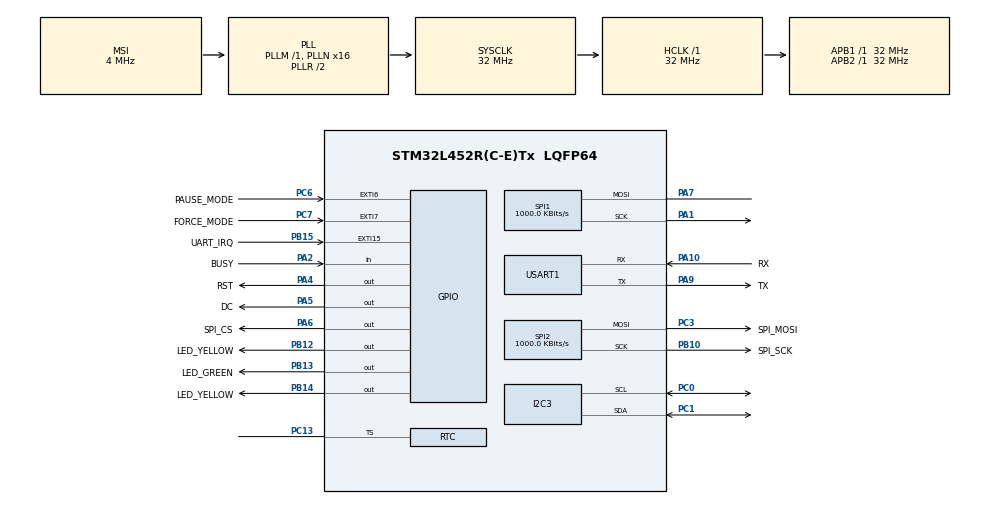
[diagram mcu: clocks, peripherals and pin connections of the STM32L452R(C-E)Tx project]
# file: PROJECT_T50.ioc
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I2C3.Timing=0x00707CBB
Mcu.Family=STM32L4
Mcu.Name=STM32L452R(C-E)Tx
Mcu.Package=LQFP64
NVIC.PriorityGroup=NVIC_PRIORITYGROUP_4
NVIC.RTC_WKUP_IRQn=true\:0\:0\:false\:false\:true\:true\:true
PA1.GPIO_PuPd=GPIO_PULLDOWN
PA1.Mode=Simplex_Bidirectional_Master
PA1.Signal=SPI1_SCK
PA10.GPIO_Label=RX
PA10.Mode=Asynchronous
PA10.Signal=USART1_RX
PA13\ (JTMS/SWDIO).Mode=JTAG_5_pins
PA13\ (JTMS/SWDIO).Signal=SYS_JTMS-SWDIO
PA14\ (JTCK/SWCLK).Mode=JTAG_5_pins
PA14\ (JTCK/SWCLK).Signal=SYS_JTCK-SWCLK
PA15\ (JTDI).Mode=JTAG_5_pins
PA15\ (JTDI).Signal=SYS_JTDI
PA2.GPIO_Label=BUSY
PA2.Signal=GPIO_Input
PA4.GPIO_Label=RST
PA4.Signal=GPIO_Output
PA5.GPIO_Label=DC
PA5.Signal=GPIO_Output
PA6.GPIO_Label=SPI_CS
PA6.Signal=GPIO_Output
PA7.Mode=Simplex_Bidirectional_Master
PA7.Signal=SPI1_MOSI
PA9.GPIO_Label=TX
PA9.GPIO_PuPd=GPIO_PULLDOWN
PA9.Mode=Asynchronous
PA9.Signal=USART1_TX
PB10.GPIO_Label=SPI_SCK
PB10.Mode=TX_Only_Simplex_Unidirect_Master
PB10.Signal=SPI2_SCK
PB12.GPIO_Label=LED_YELLOW
PB12.Signal=GPIO_Output
PB13.GPIO_Label=LED_GREEN
PB13.Signal=GPIO_Output
PB14.GPIO_Label=LED_YELLOW
PB14.Signal=GPIO_Output
PB15.GPIO_Label=UART_IRQ
PB15.GPIO_PuPd=GPIO_PULLDOWN
PB15.Signal=GPXTI15
PB3\ (JTDO/TRACESWO).Mode=JTAG_5_pins
PB3\ (JTDO/TRACESWO).Signal=SYS_JTDO-SWO
PB4\ (NJTRST).Mode=JTAG_5_pins
PB4\ (NJTRST).Signal=SYS_JTRST
PC0.Mode=I2C
PC0.Signal=I2C3_SCL
PC1.Mode=I2C
PC1.Signal=I2C3_SDA
PC13.Mode=Timestamp enabled
PC13.Signal=RTC_TS
PC14-OSC32_IN\ (PC14).Mode=LSE-External-Oscillator
PC14-OSC32_IN\ (PC14).Signal=RCC_OSC32_IN
PC15-OSC32_OUT\ (PC15).Mode=LSE-External-Oscillator
PC15-OSC32_OUT\ (PC15).Signal=RCC_OSC32_OUT
PC3.GPIO_Label=SPI_MOSI
PC3.Mode=TX_Only_Simplex_Unidirect_Master
PC3.Signal=SPI2_MOSI
PC6.GPIO_Label=PAUSE_MODE
PC6.GPIO_ModeDefaultEXTI=GPIO_MODE_IT_RISING_FALLING
PC6.GPIO_PuPd=GPIO_PULLDOWN
PC6.Signal=GPXTI6
PC7.GPIO_Label=FORCE_MODE
PC7.GPIO_PuPd=GPIO_PULLDOWN
PC7.Signal=GPXTI7
ProjectManager.HeapSize=0x200
ProjectManager.StackSize=0x400
ProjectManager.TargetToolchain=STM32CubeIDE
RCC.AHBFreq_Value=32000000
RCC.APB1Freq_Value=32000000
RCC.APB1TimFreq_Value=32000000
RCC.APB2Freq_Value=32000000
RCC.APB2TimFreq_Value=32000000
RCC.CortexFreq_Value=32000000
RCC.HCLKFreq_Value=32000000
RCC.HSE_VALUE=8000000
RCC.HSI48_VALUE=48000000
RCC.HSI_VALUE=16000000
RCC.MSI_VALUE=4000000
RCC.PLLN=16
RCC.SYSCLKFreq_VALUE=32000000
RCC.SYSCLKSource=RCC_SYSCLKSOURCE_PLLCLK
RCC.VCOOutputFreq_Value=64000000
RTC.WakeUpClock-WakeUp=RTC_WAKEUPCLOCK_CK_SPRE_16BITS
RTC.WakeUpCounter-WakeUp=19
SPI1.BaudRatePrescaler=SPI_BAUDRATEPRESCALER_32
SPI1.CalculateBaudRate=1000.0 KBits/s
SPI1.DataSize=SPI_DATASIZE_8BIT
SPI1.Direction=SPI_DIRECTION_1LINE
SPI1.Mode=SPI_MODE_MASTER
SPI1.VirtualType=VM_MASTER
SPI2.BaudRatePrescaler=SPI_BAUDRATEPRESCALER_32
SPI2.CalculateBaudRate=1000.0 KBits/s
SPI2.DataSize=SPI_DATASIZE_8BIT
SPI2.Direction=SPI_DIRECTION_2LINES
SPI2.Mode=SPI_MODE_MASTER
SPI2.VirtualType=VM_MASTER
USART1.VirtualMode-Asynchronous=VM_ASYNC
VP_RTC_VS_RTC_Activate.Mode=RTC_Enabled
VP_RTC_VS_RTC_Calendar.Mode=RTC_Calendar
VP_RTC_VS_RTC_WakeUp_intern.Mode=WakeUp
board=custom

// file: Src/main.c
/* USER CODE BEGIN Header */
/**
  ******************************************************************************
  * @file           : main.c
  * @brief          : Main program body
  ******************************************************************************
  * @attention
  *
  * <h2><center>&copy; Copyright (c) 2019 STMicroelectronics.
  * All rights reserved.</center></h2>
  *
  * This software component is licensed by ST under BSD 3-Clause license,
  * the "License"; You may not use this file except in compliance with the
  * License. You may obtain a copy of the License at:
  *                        opensource.org/licenses/BSD-3-Clause
  *
  ******************************************************************************
  */
/* USER CODE END Header */

#include "main.h"

/* USER CODE BEGIN Includes */
void ink_clear(void);						//clear entire display
void ink_update(void);						//clear reading every update
int ink_init(void);							//initialise display
void ink_display(void);						//display all reading
void ink_datetime(void);					//display date and time
void ink_skintype(void);					//display skintype
void ink_med(void);							//display user med
void ink_sed(void);							//display cumulative sed
void ink_uvindex(void);						//display uv index
void ink_bargraph(void);					//display bar graph
void ink_datapoint(void);					//display data point
/* USER CODE END Includes */

I2C_HandleTypeDef hi2c3;
RTC_HandleTypeDef hrtc;
SPI_HandleTypeDef hspi1;
SPI_HandleTypeDef hspi2;
UART_HandleTypeDef huart1;

/* USER CODE BEGIN PV */

uint8_t RXBuffer[18];
uint8_t DisconnectBuffer[2];
uint8_t uartReady = 0;
uint8_t TXFLAG = 0;
uint8_t GUI_skinType[1];
uint8_t GUI_MED[3];
uint8_t GUI_DDMMYYYY[8];
uint8_t GUI_HHMMSS[6];
uint8_t wake_up_led_flash = 1;

uint8_t MED_VALUE[1];
uint8_t SKINTYPE[1];
uint8_t HOUR[1];
uint8_t MIN[1];
uint8_t SEC[1];
uint8_t DAY[1];
uint8_t MONTH[1];
uint8_t YEAR[1];

// 0 = normal
// 1 = force
// 2 = pause
int MODE = 0;

/* USER CODE END PV */

void SystemClock_Config(void);
static void MX_GPIO_Init(void);
static void MX_SPI1_Init(void);
static void MX_I2C3_Init(void);
static void MX_SPI2_Init(void);
static void MX_USART1_UART_Init(void);
static void MX_RTC_Init(void);
/* USER CODE BEGIN PFP */
void ink_clear(void);						//clear entire display
void ink_update(void);						//clear reading every update
int ink_init(void);							//initialise display
void ink_display(void);						//display all reading
void ink_datetime(void);					//display date and time
void ink_skintype(void);					//display skintype
void ink_med(void);							//display user med
void ink_sed(void);							//display cumulative sed
void ink_uvindex(void);						//display uv index
void ink_bargraph(void);					//display bar graph
void ink_datapoint(void);					//display data point
int test(void);
void Uart_Subroutine(void) ;
void transmit_uv(void);
void handle_RX_values(void);
void sleep_mode(void);
void wake_up_mode(void);
void presleepRoutine(void);
void force_mode_subroutine(void);
void pause_mode_subroutine(void);

/* USER CODE END PFP */

/* USER CODE BEGIN 0 */
#ifdef __GNUC__
/* With GCC/RAISONANCE, small printf (option LD Linker->Libraries->Small printf
   set to 'Yes') calls __io_putchar() */
#define PUTCHAR_PROTOTYPE int __io_putchar(int ch)
#else
#define PUTCHAR_PROTOTYPE int fputc(int ch, FILE *f)
#endif /* __GNUC__ */

/* USER CODE END 0 */

int main(void)
{

  /* MCU Configuration--------------------------------------------------------*/

  /* Reset of all peripherals, Initializes the Flash interface and the Systick. */
  HAL_Init();

  /* Configure the system clock */
  SystemClock_Config();

  /* Initialize all configured peripherals */
  MX_GPIO_Init();
  MX_SPI1_Init();
  MX_I2C3_Init();
  MX_SPI2_Init();
  MX_USART1_UART_Init();
  MX_RTC_Init();
  /* USER CODE BEGIN 2 */

  ink_init();
  SI1133_init();
  /* USER CODE END 2 */

  /* Infinite loop */
  while (1)
  {

    /* USER CODE BEGIN 3 */

	// only meant to flash when woken up from RTC
	if (wake_up_led_flash == 1) {

		//flash RED LED ||  HAL_GPIO_WritePin(LED_GPIO_Port, RED_LED_Pin, GPIO_PIN_SET);
		//HAL_Delay(500);
	}

	//if uart has been signalled to start working and go into GUI communication
	if (uartReady == 1) {
		//GUI COMMS ROUTINE - WILL EXIT ON DISCONNECT PRESS ON GUI
		Uart_Subroutine();
	}

	//if no switch interupt has occured to change mondes go through normal routine
	if (mode == 0) {
		  getUV();
		  HAL_Delay(10);
		  ink_display();
		  HAL_Delay(10);

	} else if( mode == 1) { //if force mode has been selected

		force_mode_subroutine();
	} else if ( mode == 2) { //if pause mode has been selected

		pause_mode_subroutine();
	}

	//enter Sleep MODE
	//sleep_mode();
  }
  /* USER CODE END 3 */
}

void force_mode_routine(void) {

	//do routine stuff until IRQ is called and takes it back to normal
}

void pause_mode_subroutine(void) {

	//do routine stuff until IRQ is called and takes it back to normal

}

//Stop mode routine
void sleep_mode(void) {

	// || flash LED || HAL_GPIO_WritePin(LED_GPIO_Port, GREEN_LED_Pin, GPIO_PIN_SET);

	wake_up_led_flash = 1;
    HAL_RTCEx_SetWakeUpTimer_IT(&hrtc, 0x0FFFF, RTC_WAKEUPCLOCK_RTCCLK_DIV16);

    /* Enter STOP 1 mode */
    HAL_PWREx_EnterSTOP1Mode(PWR_STOPENTRY_WFI);

    /* ... STOP 1 mode ... */
    wake_up_mode();
}

//Wake up routine
void wake_up_mode(void) {

	  /* Configure the system clock */
	  SystemClock_Config();

	  HAL_UART_Receive_IT(&huart1, RXBuffer, 19);
}

//UART Subroutine, funnels to other functions
void Uart_Subroutine(void) {

	int count = 0;

	while (uartReady == 1) {

		if (TXFLAG == 1) {

			transmit_uv();
		}

		if (count > 5) {

			uartReady = 0;
			connected = 0;
		}
		count++;
	}
}

//Transmits uv update to GUI
// MOCKUPUV should be the UV sample
void transmit_uv(void) {

	uint8_t MOCKUPUV[3];
	MOCKUPUV[0] = '1';
	int count = 0;
	while (TXFLAG == 1) {

		//READ UV HERE AND SEND TO SERIAL VIA THIS FUNCTION

		if (count > 6) {
			MOCKUPUV[0] = '1';
			count = 0;

		}
		MOCKUPUV[0] = MOCKUPUV[0] + 1;
		MOCKUPUV[1] = '\n'; //last character must be a new line
		HAL_UART_Transmit(&huart1, MOCKUPUV, 2, 10);
		count++;
	}
}

// This function seperates for M/D/Y/Time all values to arrays for screen updates
void handle_RX_values(void) {

	int i,j,k;

	GUI_skinType[0] = RXBuffer[1];

	for (i = 0; i < 4; i++) {
		GUI_MED[i] = RXBuffer[i+1+1];
	}
	for (j = 0; j < 9; j++) {
		GUI_DDMMYYYY[j] = RXBuffer[j+i+1];
	}
	for (k = 0; k < 9; k++) {
		GUI_HHMMSS[k] = RXBuffer[j+i+k];
	}
}

void SystemClock_Config(void)
{
  RCC_OscInitTypeDef RCC_OscInitStruct = {0};
  RCC_ClkInitTypeDef RCC_ClkInitStruct = {0};
  RCC_PeriphCLKInitTypeDef PeriphClkInit = {0};

  /** Initializes the CPU, AHB and APB busses clocks
  */
  RCC_OscInitStruct.OscillatorType = RCC_OSCILLATORTYPE_LSI|RCC_OSCILLATORTYPE_MSI;
  RCC_OscInitStruct.LSIState = RCC_LSI_ON;
  RCC_OscInitStruct.MSIState = RCC_MSI_ON;
  RCC_OscInitStruct.MSICalibrationValue = 0;
  RCC_OscInitStruct.MSIClockRange = RCC_MSIRANGE_6;
  RCC_OscInitStruct.PLL.PLLState = RCC_PLL_ON;
  RCC_OscInitStruct.PLL.PLLSource = RCC_PLLSOURCE_MSI;
  RCC_OscInitStruct.PLL.PLLM = 1;
  RCC_OscInitStruct.PLL.PLLN = 16;
  RCC_OscInitStruct.PLL.PLLP = RCC_PLLP_DIV7;
  RCC_OscInitStruct.PLL.PLLQ = RCC_PLLQ_DIV2;
  RCC_OscInitStruct.PLL.PLLR = RCC_PLLR_DIV2;
  if (HAL_RCC_OscConfig(&RCC_OscInitStruct) != HAL_OK)
  {
    Error_Handler();
  }
  /** Initializes the CPU, AHB and APB busses clocks
  */
  RCC_ClkInitStruct.ClockType = RCC_CLOCKTYPE_HCLK|RCC_CLOCKTYPE_SYSCLK
                              |RCC_CLOCKTYPE_PCLK1|RCC_CLOCKTYPE_PCLK2;
  RCC_ClkInitStruct.SYSCLKSource = RCC_SYSCLKSOURCE_PLLCLK;
  RCC_ClkInitStruct.AHBCLKDivider = RCC_SYSCLK_DIV1;
  RCC_ClkInitStruct.APB1CLKDivider = RCC_HCLK_DIV1;
  RCC_ClkInitStruct.APB2CLKDivider = RCC_HCLK_DIV1;

  if (HAL_RCC_ClockConfig(&RCC_ClkInitStruct, FLASH_LATENCY_1) != HAL_OK)
  {
    Error_Handler();
  }
  PeriphClkInit.PeriphClockSelection = RCC_PERIPHCLK_RTC|RCC_PERIPHCLK_USART1
                              |RCC_PERIPHCLK_I2C3;
  PeriphClkInit.Usart1ClockSelection = RCC_USART1CLKSOURCE_PCLK2;
  PeriphClkInit.I2c3ClockSelection = RCC_I2C3CLKSOURCE_PCLK1;
  PeriphClkInit.RTCClockSelection = RCC_RTCCLKSOURCE_LSI;
  if (HAL_RCCEx_PeriphCLKConfig(&PeriphClkInit) != HAL_OK)
  {
    Error_Handler();
  }
  /** Configure the main internal regulator output voltage
  */
  if (HAL_PWREx_ControlVoltageScaling(PWR_REGULATOR_VOLTAGE_SCALE1) != HAL_OK)
  {
    Error_Handler();
  }
}

static void MX_I2C3_Init(void)
{

  hi2c3.Instance = I2C3;
  hi2c3.Init.Timing = 0x00707CBB;
  hi2c3.Init.OwnAddress1 = 0;
  hi2c3.Init.AddressingMode = I2C_ADDRESSINGMODE_7BIT;
  hi2c3.Init.DualAddressMode = I2C_DUALADDRESS_DISABLE;
  hi2c3.Init.OwnAddress2 = 0;
  hi2c3.Init.OwnAddress2Masks = I2C_OA2_NOMASK;
  hi2c3.Init.GeneralCallMode = I2C_GENERALCALL_DISABLE;
  hi2c3.Init.NoStretchMode = I2C_NOSTRETCH_DISABLE;
  if (HAL_I2C_Init(&hi2c3) != HAL_OK)
  {
    Error_Handler();
  }
  /** Configure Analogue filter
  */
  if (HAL_I2CEx_ConfigAnalogFilter(&hi2c3, I2C_ANALOGFILTER_ENABLE) != HAL_OK)
  {
    Error_Handler();
  }
  /** Configure Digital filter
  */
  if (HAL_I2CEx_ConfigDigitalFilter(&hi2c3, 0) != HAL_OK)
  {
    Error_Handler();
  }

}

static void MX_RTC_Init(void)
{

  RTC_TimeTypeDef sTime = {0};
  RTC_DateTypeDef sDate = {0};

  /** Initialize RTC Only
  */
  hrtc.Instance = RTC;
  hrtc.Init.HourFormat = RTC_HOURFORMAT_24;
  hrtc.Init.AsynchPrediv = 127;
  hrtc.Init.SynchPrediv = 255;
  hrtc.Init.OutPut = RTC_OUTPUT_DISABLE;
  hrtc.Init.OutPutRemap = RTC_OUTPUT_REMAP_NONE;
  hrtc.Init.OutPutPolarity = RTC_OUTPUT_POLARITY_HIGH;
  hrtc.Init.OutPutType = RTC_OUTPUT_TYPE_OPENDRAIN;
  if (HAL_RTC_Init(&hrtc) != HAL_OK)
  {
    Error_Handler();
  }

  /** Initialize RTC and set the Time and Date - USE THESE TO UPDATE VALUES - VERIFY PRINT TO SCREEN THEN WE CAN UPDATE THEM PLEASE
  */
  sTime.Hours = 0x0;
  sTime.Minutes = 0x0;
  sTime.Seconds = 0x0;
  sTime.DayLightSaving = RTC_DAYLIGHTSAVING_NONE;
  sTime.StoreOperation = RTC_STOREOPERATION_RESET;
  if (HAL_RTC_SetTime(&hrtc, &sTime, RTC_FORMAT_BCD) != HAL_OK)
  {
    Error_Handler();
  }
  sDate.WeekDay = RTC_WEEKDAY_MONDAY;
  sDate.Month = RTC_MONTH_JANUARY;
  sDate.Date = 0x1;
  sDate.Year = 0x0;

  if (HAL_RTC_SetDate(&hrtc, &sDate, RTC_FORMAT_BCD) != HAL_OK)
  {
    Error_Handler();
  }
  /** Enable the TimeStamp
  */
  if (HAL_RTCEx_SetTimeStamp(&hrtc, RTC_TIMESTAMPEDGE_RISING, RTC_TIMESTAMPPIN_DEFAULT) != HAL_OK)
  {
    Error_Handler();
  }
  /** Enable the WakeUp
  */
  if (HAL_RTCEx_SetWakeUpTimer_IT(&hrtc, 30000, RTC_WAKEUPCLOCK_RTCCLK_DIV16) != HAL_OK)
  {
    Error_Handler();
  }

}

static void MX_SPI1_Init(void)
{

  /* SPI1 parameter configuration*/
  hspi1.Instance = SPI1;
  hspi1.Init.Mode = SPI_MODE_MASTER;
  hspi1.Init.Direction = SPI_DIRECTION_1LINE;
  hspi1.Init.DataSize = SPI_DATASIZE_8BIT;
  hspi1.Init.CLKPolarity = SPI_POLARITY_LOW;
  hspi1.Init.CLKPhase = SPI_PHASE_1EDGE;
  hspi1.Init.NSS = SPI_NSS_SOFT;
  hspi1.Init.BaudRatePrescaler = SPI_BAUDRATEPRESCALER_32;
  hspi1.Init.FirstBit = SPI_FIRSTBIT_MSB;
  hspi1.Init.TIMode = SPI_TIMODE_DISABLE;
  hspi1.Init.CRCCalculation = SPI_CRCCALCULATION_DISABLE;
  hspi1.Init.CRCPolynomial = 7;
  hspi1.Init.CRCLength = SPI_CRC_LENGTH_DATASIZE;
  hspi1.Init.NSSPMode = SPI_NSS_PULSE_ENABLE;
  if (HAL_SPI_Init(&hspi1) != HAL_OK)
  {
    Error_Handler();
  }

}

static void MX_SPI2_Init(void)
{

  /* SPI2 parameter configuration*/
  hspi2.Instance = SPI2;
  hspi2.Init.Mode = SPI_MODE_MASTER;
  hspi2.Init.Direction = SPI_DIRECTION_2LINES;
  hspi2.Init.DataSize = SPI_DATASIZE_8BIT;
  hspi2.Init.CLKPolarity = SPI_POLARITY_LOW;
  hspi2.Init.CLKPhase = SPI_PHASE_1EDGE;
  hspi2.Init.NSS = SPI_NSS_SOFT;
  hspi2.Init.BaudRatePrescaler = SPI_BAUDRATEPRESCALER_32;
  hspi2.Init.FirstBit = SPI_FIRSTBIT_MSB;
  hspi2.Init.TIMode = SPI_TIMODE_DISABLE;
  hspi2.Init.CRCCalculation = SPI_CRCCALCULATION_DISABLE;
  hspi2.Init.CRCPolynomial = 7;
  hspi2.Init.CRCLength = SPI_CRC_LENGTH_DATASIZE;
  hspi2.Init.NSSPMode = SPI_NSS_PULSE_ENABLE;
  if (HAL_SPI_Init(&hspi2) != HAL_OK)
  {
    Error_Handler();
  }

}

static void MX_USART1_UART_Init(void)
{

  huart1.Instance = USART1;
  huart1.Init.BaudRate = 115200;
  huart1.Init.WordLength = UART_WORDLENGTH_8B;
  huart1.Init.StopBits = UART_STOPBITS_1;
  huart1.Init.Parity = UART_PARITY_NONE;
  huart1.Init.Mode = UART_MODE_TX_RX;
  huart1.Init.HwFlowCtl = UART_HWCONTROL_NONE;
  huart1.Init.OverSampling = UART_OVERSAMPLING_16;
  huart1.Init.OneBitSampling = UART_ONE_BIT_SAMPLE_DISABLE;
  huart1.AdvancedInit.AdvFeatureInit = UART_ADVFEATURE_NO_INIT;
  if (HAL_UART_Init(&huart1) != HAL_OK)
  {
    Error_Handler();
  }

}

static void MX_GPIO_Init(void)
{
  GPIO_InitTypeDef GPIO_InitStruct = {0};

  /* GPIO Ports Clock Enable */
  __HAL_RCC_GPIOC_CLK_ENABLE();
  __HAL_RCC_GPIOA_CLK_ENABLE();
  __HAL_RCC_GPIOB_CLK_ENABLE();

  /*Configure GPIO pin Output Level */
  HAL_GPIO_WritePin(GPIOA, RST_Pin|DC_Pin|SPI_CS_Pin, GPIO_PIN_RESET);

  /*Configure GPIO pin Output Level */
  HAL_GPIO_WritePin(GPIOB, LED_YELLOW_Pin|LED_GREEN_Pin|LED_YELLOWB14_Pin, GPIO_PIN_RESET);

  /*Configure GPIO pin : BUSY_Pin */
  GPIO_InitStruct.Pin = BUSY_Pin;
  GPIO_InitStruct.Mode = GPIO_MODE_INPUT;
  GPIO_InitStruct.Pull = GPIO_NOPULL;
  HAL_GPIO_Init(BUSY_GPIO_Port, &GPIO_InitStruct);

  /*Configure GPIO pins : RST_Pin DC_Pin SPI_CS_Pin */
  GPIO_InitStruct.Pin = RST_Pin|DC_Pin|SPI_CS_Pin;
  GPIO_InitStruct.Mode = GPIO_MODE_OUTPUT_PP;
  GPIO_InitStruct.Pull = GPIO_NOPULL;
  GPIO_InitStruct.Speed = GPIO_SPEED_FREQ_LOW;
  HAL_GPIO_Init(GPIOA, &GPIO_InitStruct);

  /*Configure GPIO pins : LED_YELLOW_Pin LED_GREEN_Pin LED_YELLOWB14_Pin */
  GPIO_InitStruct.Pin = LED_YELLOW_Pin|LED_GREEN_Pin|LED_YELLOWB14_Pin;
  GPIO_InitStruct.Mode = GPIO_MODE_OUTPUT_PP;
  GPIO_InitStruct.Pull = GPIO_NOPULL;
  GPIO_InitStruct.Speed = GPIO_SPEED_FREQ_LOW;
  HAL_GPIO_Init(GPIOB, &GPIO_InitStruct);

  /*Configure GPIO pin : UART_IRQ_Pin */
  GPIO_InitStruct.Pin = UART_IRQ_Pin;
  GPIO_InitStruct.Mode = GPIO_MODE_IT_RISING;
  GPIO_InitStruct.Pull = GPIO_PULLDOWN;
  HAL_GPIO_Init(UART_IRQ_GPIO_Port, &GPIO_InitStruct);

  /*Configure GPIO pin : PAUSE_MODE_Pin */
  GPIO_InitStruct.Pin = PAUSE_MODE_Pin;
  GPIO_InitStruct.Mode = GPIO_MODE_IT_RISING_FALLING;
  GPIO_InitStruct.Pull = GPIO_PULLDOWN;
  HAL_GPIO_Init(PAUSE_MODE_GPIO_Port, &GPIO_InitStruct);

  /*Configure GPIO pin : FORCE_MODE_Pin */
  GPIO_InitStruct.Pin = FORCE_MODE_Pin;
  GPIO_InitStruct.Mode = GPIO_MODE_IT_RISING;
  GPIO_InitStruct.Pull = GPIO_PULLDOWN;
  HAL_GPIO_Init(FORCE_MODE_GPIO_Port, &GPIO_InitStruct);

}

/* USER CODE BEGIN 4 */
void HAL_GPIO_EXTI_Callback(uint16_t GPIO_Pin) {

	if (GPIO_Pin == UART_IRQ_Pin) {

		if (connected == 0) {
			connected = 1; //connected to GUI
			uartReady = 1; //receiving
			wake_up_led_flash = 0; //stops flash on this wake up, not meant to happen unless done by the RTC
		}

	}

	if (GPIO_Pin == FORCE_MODE_Pin) {

		//if in force mode, go back to normal
		if (MODE == 1) {
			MODE = 0;

		} else if (MODE == 2){

			MODE = 2; //pause mode is still active, you cant override it so keep in pause
		} else {

			MODE = 1;//enter force mode
		}
	}

	if (GPIO_Pin == PAUSE_MODE_Pin) {

		//if in pause mode, go back to normal
		if (MODE == 2) {
			MODE = 0;

		} else { //enter pause mode

			MODE = 2;
		}
	}
}
/**
  * @brief  Retargets the C library printf function to the USART.
  * @param  None
  * @retval None
  */
PUTCHAR_PROTOTYPE
{
  /* Place your implementation of fputc here */
  /* e.g. write a character to the USART1 and Loop until the end of transmission */
  HAL_UART_Transmit(&huart1, (uint8_t *)&ch, 1, 0xFFFF);

  return ch;
}

/* This callback is called by the HAL_UART_IRQHandler when the given number of bytes are received */

void HAL_UART_RxCpltCallback(UART_HandleTypeDef *huart) {

	//DO STUFF HERE AND SAVE VARIABLES

	if (TXFLAG == 0) {

		handle_RX_values();
	}

	TXFLAG = 1;

	  for (int i = 0; i < 19; i++) {

		  RXBuffer[i] = 0;

	  }

	if (TXRXTOGGLE == 0) {

		for (int i = 0; i < 19; i++) {

					  RXBuffer[i] = 0;

		}
		TXRXTOGGLE = 1;
		HAL_UART_Receive_IT(&huart1, DisconnectBuffer, 1);
	}

	if(DisconnectBuffer[0] == '#' || DisconnectBuffer[1] == '#' ) {

		uartReady = 0;
		TXFLAG = 0;
		connected = 0;

		  for (int i = 0; i < 19; i++) {

			  RXBuffer[i] = 0;

		  }
		  DisconnectBuffer[0] = 0;
		  DisconnectBuffer[1] = 0;
		  TXRXTOGGLE = 0;
	}
}

/* USER CODE END 4 */

void Error_Handler(void)
{
}

/************************ (C) COPYRIGHT STMicroelectronics *****END OF FILE****/
